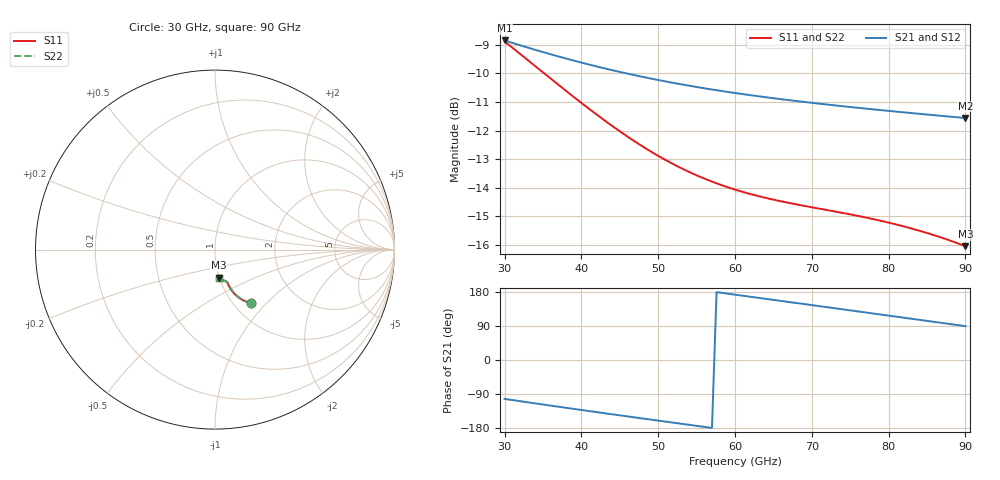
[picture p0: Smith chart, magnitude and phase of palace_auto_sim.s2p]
#  GHZ S DB R 50
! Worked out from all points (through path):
!   101 points, 30 GHz to 90 GHz, reference 50 ohm
!   highest |S21| = -8.85 dB at 30 GHz (marker M1); lowest = -11.6 dB at 90 GHz (marker M2)
!   group delay of S21, straight-line fit = 7.73 ps
!   lowest |S11| = -16.0 dB at 90 GHz (marker M3), VSWR 1.37, Z = 49.5 - j15.9 ohm
!   |S11| at or under -10 dB: 35.16 GHz to end of sweep
!   |S22| runs from -15.9 to -8.9 dB; largest |S21 - S12| = 3.3e-13
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30  -8.89 -56.3  -8.85 -102.7  -8.85 -102.7  -8.89 -56.1
33  -9.53 -59.6  -9.10 -111.6  -9.10 -111.6  -9.54 -59.4
35.4  -10.05 -61.9  -9.29 -118.6  -9.29 -118.6  -10.06 -61.6
37.8  -10.57 -63.8  -9.47 -125.6  -9.47 -125.6  -10.57 -63.5
40.2  -11.07 -65.3  -9.64 -132.5  -9.64 -132.5  -11.07 -65.0
42.6  -11.56 -66.6  -9.80 -139.3  -9.80 -139.3  -11.56 -66.2
45  -12.03 -67.5  -9.95 -146.0  -9.95 -146.0  -12.02 -67.1
47.4  -12.46 -68.2  -10.09 -152.7  -10.09 -152.7  -12.44 -67.7
50.4  -12.95 -68.7  -10.25 -161.1  -10.25 -161.1  -12.92 -68.2
52.8  -13.29 -69.0  -10.37 -167.7  -10.37 -167.7  -13.26 -68.5
55.2  -13.59 -69.2  -10.48 -174.3  -10.48 -174.3  -13.55 -68.6
57.6  -13.85 -69.4  -10.59 179.0  -10.59 179.0  -13.79 -68.8
60  -14.06 -69.6  -10.69 172.4  -10.69 172.4  -14.00 -69.0
64.8  -14.40 -70.3  -10.86 159.2  -10.86 159.2  -14.32 -69.7
67.2  -14.54 -70.8  -10.94 152.6  -10.94 152.6  -14.45 -70.3
70.2  -14.69 -71.8  -11.04 144.3  -11.04 144.3  -14.59 -71.3
73.2  -14.84 -73.0  -11.12 136.0  -11.12 136.0  -14.72 -72.6
75.6  -14.96 -74.1  -11.19 129.4  -11.19 129.4  -14.84 -73.8
80.4  -15.25 -76.8  -11.32 116.0  -11.32 116.0  -15.11 -76.5
85.2  -15.60 -79.7  -11.44 102.7  -11.44 102.7  -15.45 -79.6
87.6  -15.81 -81.2  -11.50 96.0  -11.50 96.0  -15.66 -81.2
90  -16.04 -82.7  -11.56 89.4  -11.56 89.4  -15.89 -82.8
